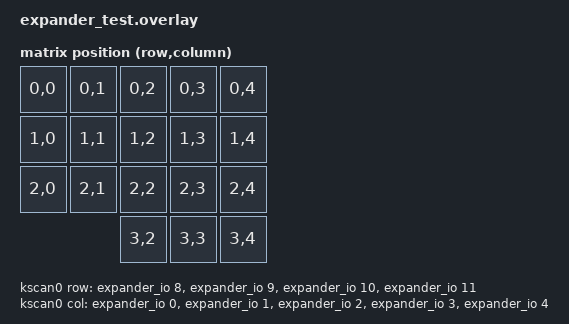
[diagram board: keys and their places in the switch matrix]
/*
 * SPDX-License-Identifier: MIT
 */

#include <dt-bindings/zmk/matrix_transform.h>

/ {
    chosen {
		zmk,kscan = &kscan0;
		zmk,matrix_transform = &default_transform;
	};

	default_transform: keymap_transform_0 {
		compatible = "zmk,matrix-transform";
		columns = <5>;
		rows = <4>;
		map = <
		RC(0,0) RC(0,1) RC(0,2) RC(0,3) RC(0,4)
		RC(1,0) RC(1,1) RC(1,2) RC(1,3) RC(1,4)
		RC(2,0) RC(2,1) RC(2,2) RC(2,3) RC(2,4)
		                RC(3,2) RC(3,3) RC(3,4)
		>;
	};

	kscan0: kscan {
		compatible = "zmk,kscan-gpio-matrix";
        debounce-press-ms = <10>;
        debounce-release-ms = <1>;
		label = "KSCAN";
		diode-direction = "col2row";
		col-gpios
			= <&expander_io 0 GPIO_ACTIVE_HIGH>
            , <&expander_io 1 GPIO_ACTIVE_HIGH>
			, <&expander_io 2 GPIO_ACTIVE_HIGH>
			, <&expander_io 3 GPIO_ACTIVE_HIGH>
			, <&expander_io 4 GPIO_ACTIVE_HIGH>
			;
		row-gpios
			= <&expander_io 8  (GPIO_ACTIVE_HIGH)>
			, <&expander_io 9  (GPIO_ACTIVE_HIGH)>
			, <&expander_io 10 (GPIO_ACTIVE_HIGH)>
			, <&expander_io 11 (GPIO_ACTIVE_HIGH)>
			;
	};

};

&xiao_i2c {
	status = "okay";
	clock-frequency = <I2C_BITRATE_FAST>;
	expander_io: pca95xx@20 {
	    compatible = "nxp,pca95xx";
	    status = "okay";
	    gpio-controller;
	    reg = <0x20>;
	    label = "PCA9555";
	    #gpio-cells = <2>;
	    ngpios = <16>;
	};
};
